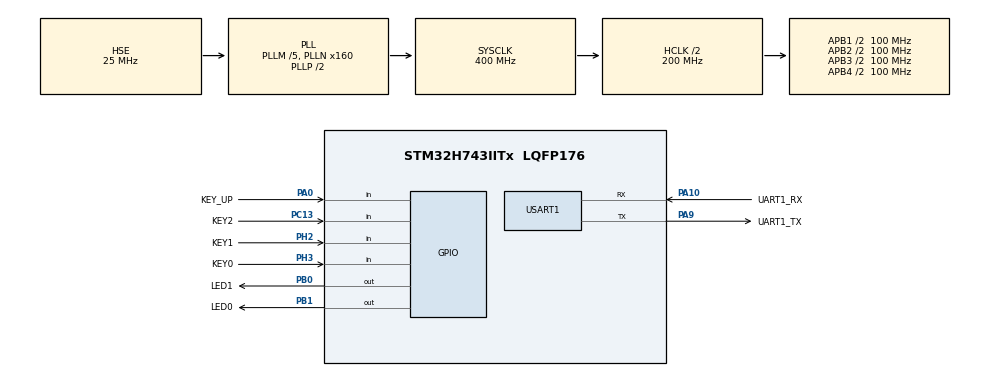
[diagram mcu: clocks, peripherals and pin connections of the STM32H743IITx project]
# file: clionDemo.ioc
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Mcu.Family=STM32H7
Mcu.Name=STM32H743IITx
Mcu.Package=LQFP176
NVIC.PriorityGroup=NVIC_PRIORITYGROUP_4
NVIC.USART1_IRQn=true\:3\:0\:true\:false\:true\:true\:true
PA0.GPIO_Label=KEY_UP
PA0.GPIO_PuPd=GPIO_PULLDOWN
PA0.Signal=GPIO_Input
PA10.GPIO_Label=UART1_RX
PA10.GPIO_Speed=GPIO_SPEED_FREQ_HIGH
PA10.Mode=Asynchronous
PA10.Signal=USART1_RX
PA9.GPIO_Label=UART1_TX
PA9.GPIO_Speed=GPIO_SPEED_FREQ_HIGH
PA9.Mode=Asynchronous
PA9.Signal=USART1_TX
PB0.GPIO_Label=LED1
PB0.GPIO_PuPd=GPIO_PULLDOWN
PB0.GPIO_Speed=GPIO_SPEED_FREQ_HIGH
PB0.Signal=GPIO_Output
PB1.GPIO_Label=LED0
PB1.GPIO_PuPd=GPIO_PULLDOWN
PB1.GPIO_Speed=GPIO_SPEED_FREQ_HIGH
PB1.Signal=GPIO_Output
PC13.GPIO_Label=KEY2
PC13.GPIO_PuPd=GPIO_PULLUP
PC13.Signal=GPIO_Input
PH0-OSC_IN\ (PH0).Mode=HSE-External-Oscillator
PH0-OSC_IN\ (PH0).Signal=RCC_OSC_IN
PH1-OSC_OUT\ (PH1).Mode=HSE-External-Oscillator
PH1-OSC_OUT\ (PH1).Signal=RCC_OSC_OUT
PH2.GPIO_Label=KEY1
PH2.GPIO_PuPd=GPIO_PULLUP
PH2.Signal=GPIO_Input
PH3.GPIO_Label=KEY0
PH3.GPIO_PuPd=GPIO_PULLUP
PH3.Signal=GPIO_Input
ProjectManager.HeapSize=0x200
ProjectManager.StackSize=0x400
ProjectManager.TargetToolchain=STM32CubeIDE
RCC.ADCFreq_Value=50390625
RCC.APB1Freq_Value=100000000
RCC.APB2Freq_Value=100000000
RCC.APB3Freq_Value=100000000
RCC.APB4Freq_Value=100000000
RCC.CortexFreq_Value=400000000
RCC.D1PPRE=RCC_APB3_DIV2
RCC.D2PPRE1=RCC_APB1_DIV2
RCC.D2PPRE2=RCC_APB2_DIV2
RCC.D3PPRE=RCC_APB4_DIV2
RCC.DIVM1=5
RCC.DIVN1=160
RCC.HCLKFreq_Value=200000000
RCC.HPRE=RCC_HCLK_DIV2
RCC.PLLSourceVirtual=RCC_PLLSOURCE_HSE
RCC.SYSCLKFreq_VALUE=400000000
RCC.SYSCLKSource=RCC_SYSCLKSOURCE_PLLCLK
RCC.USBFreq_Value=400000000
USART1.VirtualMode-Asynchronous=VM_ASYNC
board=custom

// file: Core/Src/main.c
/* USER CODE BEGIN Header */
/**
  ******************************************************************************
  * @file           : main.c
  * @brief          : Main program body
  ******************************************************************************
  * @attention
  *
  * <h2><center>&copy; Copyright (c) 2023 STMicroelectronics.
  * All rights reserved.</center></h2>
  *
  * This software component is licensed by ST under BSD 3-Clause license,
  * the "License"; You may not use this file except in compliance with the
  * License. You may obtain a copy of the License at:
  *                        opensource.org/licenses/BSD-3-Clause
  *
  ******************************************************************************
  */
/* USER CODE END Header */
#include "main.h"

/* USER CODE BEGIN PD */
#define KEY0        HAL_GPIO_ReadPin(GPIOH,GPIO_PIN_3)  //KEY0按键PH3
#define KEY1        HAL_GPIO_ReadPin(GPIOH,GPIO_PIN_2)  //KEY1按键PH2
#define KEY2        HAL_GPIO_ReadPin(GPIOC,GPIO_PIN_13) //KEY2按键PC13
#define WK_UP       HAL_GPIO_ReadPin(GPIOA,GPIO_PIN_0)  //WKUP按键PA0

#define KEY0_PRES 	1  	//KEY0按下后返回值
#define KEY1_PRES	2	//KEY1按下后返回值
#define KEY2_PRES	3	//KEY2按下后返回值
#define WKUP_PRES   4	//WKUP按下后返回值

#define LED0(n)        (n?HAL_GPIO_WritePin(GPIOB,LED0_Pin,GPIO_PIN_SET):HAL_GPIO_WritePin(GPIOB,LED0_Pin,GPIO_PIN_RESET))
#define LED0_Toggle (HAL_GPIO_TogglePin(GPIOB, LED0_Pin))
#define LED1(n)        (n?HAL_GPIO_WritePin(GPIOB,LED1_Pin,GPIO_PIN_SET):HAL_GPIO_WritePin(GPIOB,LED1_Pin,GPIO_PIN_RESET))
#define LED1_Toggle (HAL_GPIO_TogglePin(GPIOB, LED1_Pin))

/* USER CODE END PD */

UART_HandleTypeDef huart1;

void SystemClock_Config(void);

static void MX_GPIO_Init(void);

static void MX_USART1_UART_Init(void);

/* USER CODE BEGIN 0 */

static uint8_t KEY_Scan(uint8_t);

/* USER CODE END 0 */

int main(void) {
    /* USER CODE BEGIN 1 */

    //TODO 按键实验定义变量
    uint8_t key;
    uint8_t led0sta = 1, led1sta = 1;            //LED0,LED1的当前状态
    /* USER CODE END 1 */

    /* MCU Configuration--------------------------------------------------------*/

    /* Reset of all peripherals, Initializes the Flash interface and the Systick. */
    HAL_Init();

    /* Configure the system clock */
    SystemClock_Config();

    /* Initialize all configured peripherals */
    MX_GPIO_Init();
    MX_USART1_UART_Init();

    /* Infinite loop */
    while (1) {

        //TODO LED实验
        //TODO HAL_GPIO_WritePin : 参数一:GPIO类型 GPIOx --x对应PBx ,参数二:GPIO_PIN口 参数三: GPIO_PIN_RESET 置0 低电平 GPIO_PIN_SET 置1 高电平
        //TODO GPIO_PIN_RESET 灯亮原因 由于电路原因  灯的正极直接接到电源 所以得给一个低电平才能亮
//        HAL_GPIO_WritePin(GPIOB, LED1_Pin, GPIO_PIN_RESET);    //PB0置0
//        HAL_GPIO_WritePin(GPIOB, GPIO_PIN_1, GPIO_PIN_RESET); //PB1置0
//        HAL_Delay(1000);
//        HAL_GPIO_WritePin(GPIOB, GPIO_PIN_0, GPIO_PIN_SET);    //PB0置1
//        HAL_GPIO_WritePin(GPIOB, GPIO_PIN_1, GPIO_PIN_SET);    //PB1置1
//        HAL_Delay(1000);

        //TODO 按键实验
        /**
         * 硬件资源:
                1,DS0(连接在PB1),DS1(连接在PB0)
                2,按键KEY0(PH3)/KEY1(PH2)/KEY2(PC13)/KEY_UP(PA0,也称之为WK_UP)

            实验现象:
                本实验,我们将通过ALIENTEK阿波罗STM32开发板上载有的4个按钮（KEY_UP、KEY0、KEY1
                和KEY2），来控制板上的2个LED（DS0和DS1），其中KEY_UP控制DS0，DS1互斥点亮；KEY2
                控制DS0，按一次亮，再按一次灭；KEY1控制DS1，效果同KEY2；KEY0则同时控制DS0和DS1，
                按一次，他们的状态就翻转一次。
         */
        //TODO 得到按下键的值
//        if (HAL_GPIO_ReadPin(GPIOH, GPIO_PIN_3) == 0) //表示按下key0
//        {
//            // KEY0则同时控制DS0和DS1，按一次，他们的状态就翻转一次。
//            HAL_GPIO_TogglePin(GPIOB, LED0_Pin);
//        }

//        key = KEY_Scan(0);            //得到键值
//        if (key) {
//            switch (key) {
//                case WKUP_PRES:    //控制LED0,LED1互斥点亮
//                    led1sta = !led1sta;
//                    led0sta = !led1sta;
//                    break;
//                case KEY2_PRES:    //控制LED0翻转
//                    led0sta = !led0sta;
//                    break;
//                case KEY1_PRES:    //控制LED1翻转
//                    led1sta = !led1sta;
//                    break;
//                case KEY0_PRES:    //同时控制LED0,LED1翻转
//                    led0sta = !led0sta;
//                    led1sta = !led1sta;
//                    break;
//            }
//            LED0(led0sta);        //控制LED0状态
//            LED1(led1sta);        //控制LED1状态
//        } else HAL_Delay(10);

        //TODO 串口通信实验
        /**
         * 硬件资源:
                1,DS0(连接在PB1)
                2,串口1(波特率:115200,PA9/PA10连接在板载USB转串口芯片CH340上面)

            实验现象:
                本实验,STM32通过串口1和上位机对话，STM32在收到上位机发过来的字符串(以回车换
                行结束)后，原原本本的返回给上位机。下载后，DS0闪烁，提示程序在运行，同时每隔
                一定时间，通过串口1输出一段信息到电脑。

            注意事项:
                1,电脑端串口调试助手波特率必须是115200.
                2,请使用XCOM/SSCOM串口调试助手,其他串口助手可能控制DTR/RTS导致MCU复位/程序不运行
                3,串口输入字符串以回车换行结束.
                4,请用USB线连接在USB_232,找到USB转串口后测试本例程.
                5,P4的PA9/PA10必须通过跳线帽连接在RXD/TXD上.
         */

    }
}

void SystemClock_Config(void) {
    RCC_OscInitTypeDef RCC_OscInitStruct = {0};
    RCC_ClkInitTypeDef RCC_ClkInitStruct = {0};

    /** Supply configuration update enable
    */
    HAL_PWREx_ConfigSupply(PWR_LDO_SUPPLY);
    /** Configure the main internal regulator output voltage
    */
    __HAL_PWR_VOLTAGESCALING_CONFIG(PWR_REGULATOR_VOLTAGE_SCALE1);

    while (!__HAL_PWR_GET_FLAG(PWR_FLAG_VOSRDY)) {}
    /** Initializes the RCC Oscillators according to the specified parameters
    * in the RCC_OscInitTypeDef structure.
    */
    RCC_OscInitStruct.OscillatorType = RCC_OSCILLATORTYPE_HSE;
    RCC_OscInitStruct.HSEState = RCC_HSE_ON;
    RCC_OscInitStruct.PLL.PLLState = RCC_PLL_ON;
    RCC_OscInitStruct.PLL.PLLSource = RCC_PLLSOURCE_HSE;
    RCC_OscInitStruct.PLL.PLLM = 5;
    RCC_OscInitStruct.PLL.PLLN = 160;
    RCC_OscInitStruct.PLL.PLLP = 2;
    RCC_OscInitStruct.PLL.PLLQ = 2;
    RCC_OscInitStruct.PLL.PLLR = 2;
    RCC_OscInitStruct.PLL.PLLRGE = RCC_PLL1VCIRANGE_2;
    RCC_OscInitStruct.PLL.PLLVCOSEL = RCC_PLL1VCOWIDE;
    RCC_OscInitStruct.PLL.PLLFRACN = 0;
    if (HAL_RCC_OscConfig(&RCC_OscInitStruct) != HAL_OK) {
        Error_Handler();
    }
    /** Initializes the CPU, AHB and APB buses clocks
    */
    RCC_ClkInitStruct.ClockType = RCC_CLOCKTYPE_HCLK | RCC_CLOCKTYPE_SYSCLK
                                  | RCC_CLOCKTYPE_PCLK1 | RCC_CLOCKTYPE_PCLK2
                                  | RCC_CLOCKTYPE_D3PCLK1 | RCC_CLOCKTYPE_D1PCLK1;
    RCC_ClkInitStruct.SYSCLKSource = RCC_SYSCLKSOURCE_PLLCLK;
    RCC_ClkInitStruct.SYSCLKDivider = RCC_SYSCLK_DIV1;
    RCC_ClkInitStruct.AHBCLKDivider = RCC_HCLK_DIV2;
    RCC_ClkInitStruct.APB3CLKDivider = RCC_APB3_DIV2;
    RCC_ClkInitStruct.APB1CLKDivider = RCC_APB1_DIV2;
    RCC_ClkInitStruct.APB2CLKDivider = RCC_APB2_DIV2;
    RCC_ClkInitStruct.APB4CLKDivider = RCC_APB4_DIV2;

    if (HAL_RCC_ClockConfig(&RCC_ClkInitStruct, FLASH_LATENCY_2) != HAL_OK) {
        Error_Handler();
    }
}

static void MX_USART1_UART_Init(void) {

    huart1.Instance = USART1;
    huart1.Init.BaudRate = 115200;
    huart1.Init.WordLength = UART_WORDLENGTH_8B;
    huart1.Init.StopBits = UART_STOPBITS_1;
    huart1.Init.Parity = UART_PARITY_NONE;
    huart1.Init.Mode = UART_MODE_TX_RX;
    huart1.Init.HwFlowCtl = UART_HWCONTROL_NONE;
    huart1.Init.OverSampling = UART_OVERSAMPLING_16;
    huart1.Init.OneBitSampling = UART_ONE_BIT_SAMPLE_DISABLE;
    huart1.Init.ClockPrescaler = UART_PRESCALER_DIV1;
    huart1.AdvancedInit.AdvFeatureInit = UART_ADVFEATURE_NO_INIT;
    if (HAL_UART_Init(&huart1) != HAL_OK) {
        Error_Handler();
    }
    if (HAL_UARTEx_SetTxFifoThreshold(&huart1, UART_TXFIFO_THRESHOLD_1_8) != HAL_OK) {
        Error_Handler();
    }
    if (HAL_UARTEx_SetRxFifoThreshold(&huart1, UART_RXFIFO_THRESHOLD_1_8) != HAL_OK) {
        Error_Handler();
    }
    if (HAL_UARTEx_DisableFifoMode(&huart1) != HAL_OK) {
        Error_Handler();
    }

}

static void MX_GPIO_Init(void) {
    GPIO_InitTypeDef GPIO_InitStruct = {0};

    /* GPIO Ports Clock Enable */
    __HAL_RCC_GPIOC_CLK_ENABLE();
    __HAL_RCC_GPIOH_CLK_ENABLE();
    __HAL_RCC_GPIOA_CLK_ENABLE();
    __HAL_RCC_GPIOB_CLK_ENABLE();

    /*Configure GPIO pin Output Level */
    HAL_GPIO_WritePin(GPIOB, LED1_Pin | LED0_Pin, GPIO_PIN_RESET);

    /*Configure GPIO pin : KEY2_Pin */
    GPIO_InitStruct.Pin = KEY2_Pin;
    GPIO_InitStruct.Mode = GPIO_MODE_INPUT;
    GPIO_InitStruct.Pull = GPIO_PULLUP;
    HAL_GPIO_Init(KEY2_GPIO_Port, &GPIO_InitStruct);

    /*Configure GPIO pin : KEY_UP_Pin */
    GPIO_InitStruct.Pin = KEY_UP_Pin;
    GPIO_InitStruct.Mode = GPIO_MODE_INPUT;
    GPIO_InitStruct.Pull = GPIO_PULLDOWN;
    HAL_GPIO_Init(KEY_UP_GPIO_Port, &GPIO_InitStruct);

    /*Configure GPIO pins : KEY1_Pin KEY0_Pin */
    GPIO_InitStruct.Pin = KEY1_Pin | KEY0_Pin;
    GPIO_InitStruct.Mode = GPIO_MODE_INPUT;
    GPIO_InitStruct.Pull = GPIO_PULLUP;
    HAL_GPIO_Init(GPIOH, &GPIO_InitStruct);

    /*Configure GPIO pins : LED1_Pin LED0_Pin */
    GPIO_InitStruct.Pin = LED1_Pin | LED0_Pin;
    GPIO_InitStruct.Mode = GPIO_MODE_OUTPUT_PP;
    GPIO_InitStruct.Pull = GPIO_PULLDOWN;
    GPIO_InitStruct.Speed = GPIO_SPEED_FREQ_HIGH;
    HAL_GPIO_Init(GPIOB, &GPIO_InitStruct);

}

/* USER CODE BEGIN 4 */

//按键处理函数
//返回按键值
//mode:0,不支持连续按;1,支持连续按;
//0，没有任何按键按下
//1，WKUP按下 WK_UP
//注意此函数有响应优先级,KEY0>KEY1>KEY2>WK_UP!!
static uint8_t KEY_Scan(uint8_t mode) {
    static uint8_t key_up = 1;     //按键松开标志
    if (mode == 1)key_up = 1;    //支持连按
    if (key_up && (KEY0 == 0 || KEY1 == 0 || KEY2 == 0 || WK_UP == 1)) {
        HAL_Delay(10);
        key_up = 0;
        if (KEY0 == 0) return KEY0_PRES;
        else if (KEY1 == 0) return KEY1_PRES;
        else if (KEY2 == 0) return KEY2_PRES;
        else if (WK_UP == 1) return WKUP_PRES;
    } else if (KEY0 == 1 && KEY1 == 1 && KEY2 == 1 && WK_UP == 0)key_up = 1;
    return 0;   //无按键按下
}
/* USER CODE END 4 */

void Error_Handler(void) {
    __disable_irq();
    while (1) {
    }
}

/************************ (C) COPYRIGHT STMicroelectronics *****END OF FILE****/
